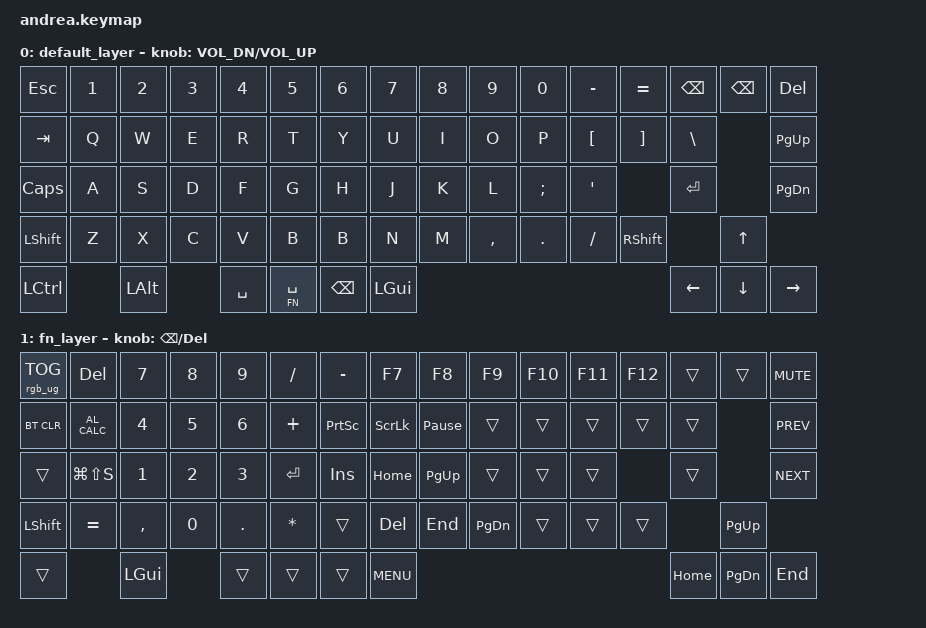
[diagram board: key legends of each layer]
#include <behaviors.dtsi>
#include <dt-bindings/zmk/keys.h>
#include <dt-bindings/zmk/bt.h>
#include <dt-bindings/zmk/outputs.h>
#include <dt-bindings/zmk/rgb.h>
#include <dt-bindings/zmk/ext_power.h>

#define FN 1

/ {
	keymap {
		compatible = "zmk,keymap";

		default_layer {
// -----------------------------------------------------------------------------------------
//   | ESC        | 1     | 2     | 3     | 4     | 5     | 6     | 7     | 8     | 9     | 0     | -     | =     | BKSP     | BKSP |   DEL  |   
//   | TAB        | Q     | W     | E     | R     | T     | Y     | U     | I     | O     | P     | [     | ]     | \        |         PGUP  |       
//   | CAPS       | A     | S     | D     | F     | G     | H     | J     | K     | L     | ;     | '     |         ENTER |            PGDN  |  
//   | SHIFT      | Z     | X     | C     | V     | B     | B     | N     | M     | ,     | .     | /     |         SHIFT |                 UP    |
//   | CTRL       |         ALT   |  LT(SPACE, 1)         |   FN  |  BSPC                 | GUI   |                                 LEFT  | DOWN  | RIGHT |   

			bindings = <
    &kp ESC          &kp NUM_1        &kp NUM_2     &kp NUM_3     &kp NUM_4     &kp NUM_5        &kp NUM_6        &kp NUM_7        &kp NUM_8        &kp NUM_9        &kp NUM_0        &kp MINUS        &kp EQL          &kp BKSP      &kp BKSP      &kp DEL  
    &kp TAB          &kp Q            &kp W         &kp E         &kp R         &kp T            &kp Y            &kp U            &kp I            &kp O            &kp P            &kp LBKT         &kp RBKT         &kp BSLH                    &kp PG_UP
    &kp CAPS         &kp A            &kp S         &kp D         &kp F         &kp G            &kp H            &kp J            &kp K            &kp L            &kp SCLN         &kp QUOT                          &kp ENTER                   &kp PG_DN
    &kp LSHFT        &kp Z            &kp X         &kp C         &kp V         &kp B            &kp B            &kp N            &kp M            &kp CMMA         &kp DOT          &kp FSLH         &kp RSHFT                      &kp UP
    &kp LCTRL                         &kp LALT                    &kp SPACE     &lt FN SPACE     &kp BSPC         &kp LGUI                                                                                              &kp LEFT         &kp DOWN        &kp RIGHT
			>;
			
			sensor-bindings = <&inc_dec_kp C_VOL_DN C_VOL_UP>; 
			
		};

		fn_layer {
// -----------------------------------------------------------------------------------------
//   |RGB_TOG| DEL    | 7        | 8      | 9      | /        | -     | F7    | F8    | F9    | F10   | F11   | F12   | TRANS  | TRANS |      TRANS |
//   | BT_CLR| CAL    | 4        | 5      | 6      | +        | PSCR  | F1    | F2    | F3    | F4    | F5    | F6    | RESET  |              NEXT T|
//   | TRANS | *      | 1        | 2      | 3      | ENT      | INS   | HOME  | PG_UP | TRANS | TRANS | TRANS |         TRANS  |              PREV T|
//   | SHIFT | =      | ,        | 0      | .      | *        | TRANS | DEL   | END   | PG_DN | TRANS | TRANS | TRANS |               PG_UP |
//   | TRANS | LG LS S           |         TRANS | TRANS    |         TRANS | MENU  |                                            HOME   | PG_DN | END   |

			bindings = <
    &rgb_ug RGB_TOG  &kp DEL          &kp N7           &kp N8          &kp N9          &kp FSLH          &kp MINUS        &kp F7           &kp F8           &kp F9           &kp F10          &kp F11          &kp F12          &trans       &trans               &kp C_MUTE
    &bt BT_CLR       &kp C_AL_CALC    &kp N4           &kp N5          &kp N6          &kp PLUS          &kp PSCRN        &kp SLCK         &kp PAUSE_BREAK  &trans           &trans           &trans           &trans           &trans                            &kp C_PREV
    &trans           &kp LG(LS(S))    &kp N1           &kp N2          &kp N3          &kp RET           &kp INS          &kp HOME         &kp PG_UP        &trans           &trans           &trans                            &trans                            &kp C_NEXT
    &kp LSHFT        &kp EQUAL        &kp COMMA        &kp N0          &kp DOT         &kp STAR          &trans           &kp DEL          &kp END          &kp PG_DN        &trans           &trans           &trans                        &kp PG_UP
    &trans                            &kp LGUI         &trans                          &trans            &trans           &kp C_MENU                                                                                            &kp HOME     &kp PG_DN      &kp END        
			>;

			sensor-bindings = <&inc_dec_kp BKSP   DEL>;

		};

	};
};
